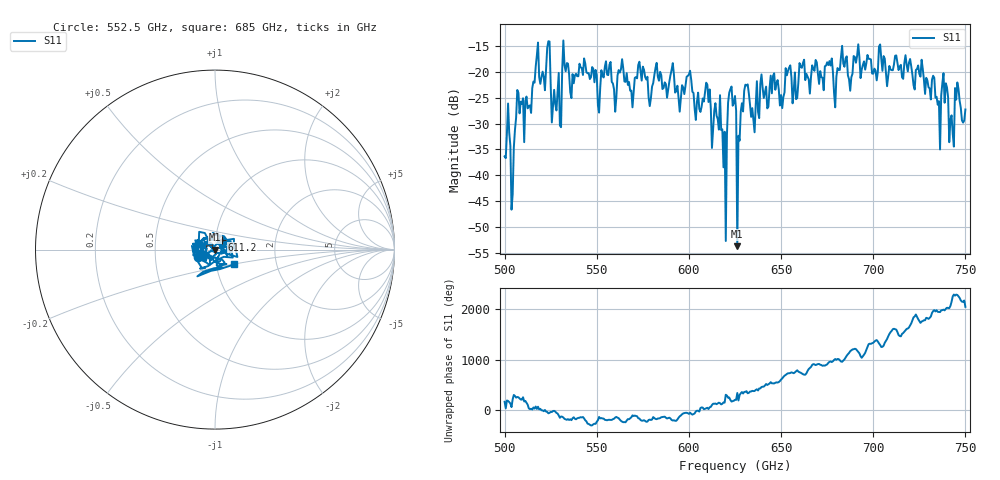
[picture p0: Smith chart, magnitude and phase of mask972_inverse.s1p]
!Created with skrf (http://scikit-rf.org).
# GHz S MA R 50.0
!freq magS11 angS11
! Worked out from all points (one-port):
!   401 points, 500 GHz to 750 GHz, reference 50 ohm
!   lowest |S11| = -53.7 dB at 626.2 GHz (marker M1), VSWR 1.00, Z = 50.2 - j0.0726 ohm
!   |S11| at or under -10 dB: start of sweep to end of sweep
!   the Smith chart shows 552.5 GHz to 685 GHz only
!   S11 on the Smith chart (normalised r, x): 552.5 GHz: 0.82, -0.07; 611.2 GHz: 1.07, +0.12; 685 GHz: 1.22, -0.21
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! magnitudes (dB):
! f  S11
! 500 GHz  -36.3
! 504.4 GHz  -43.7
! 507.5 GHz  -24.0
! 513.8 GHz  -26.5
! 516.9 GHz  -19.0
! 523.8 GHz  -14.1
! 526.9 GHz  -23.5
! 531.2 GHz  -19.5
! 552.5 GHz  -19.7
! 562.5 GHz  -20.1
! 593.8 GHz  -22.7
! 611.2 GHz  -23.4
! 616.9 GHz  -24.5
! 618.8 GHz  -38.5
! 622.5 GHz  -23.3
! 625 GHz  -24.7
! 626.2 GHz  -53.7
! 631.2 GHz  -22.6
! 635 GHz  -29.3
! 656.2 GHz  -26.1
! 685 GHz  -17.4
! 687.5 GHz  -23.6
! 718.8 GHz  -19.9
! 735 GHz  -26.4
! 738.8 GHz  -26.0
! 742.5 GHz  -28.4
! 745.6 GHz  -22.0
! 750 GHz  -27.3
